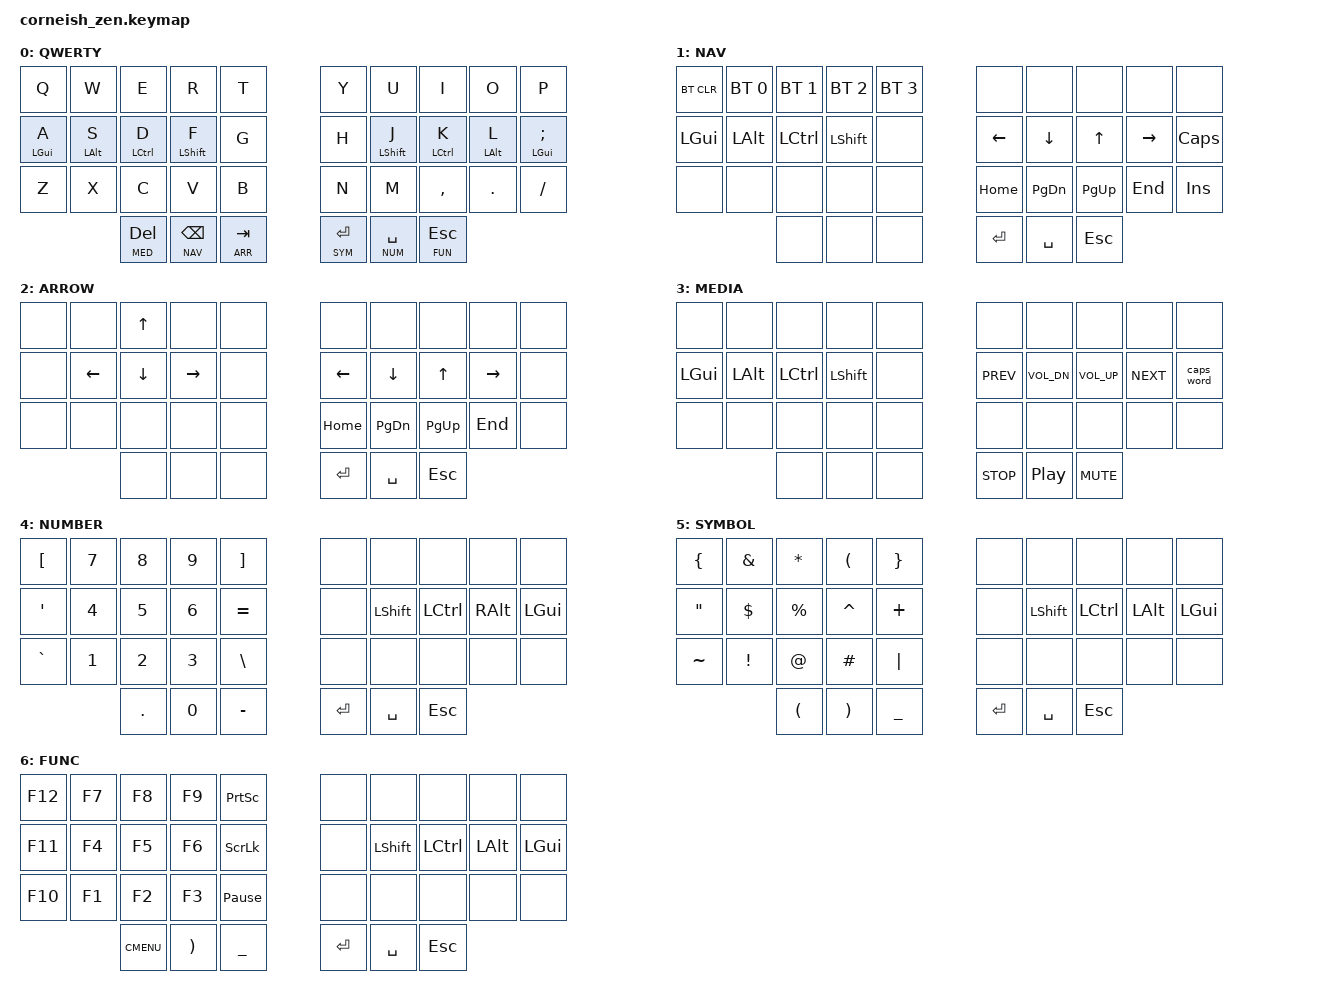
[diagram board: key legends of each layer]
/*
*
* Copyright (c) 2021 Darryl deHaan
* SPDX-License-Identifier: MIT
*
*/

#include <behaviors.dtsi>
#include <dt-bindings/zmk/keys.h>
#include <dt-bindings/zmk/bt.h>

#define DEF 0
#define NAV 1
#define ARR 2
#define MED 3
#define NUM 4
#define SYM 5
#define FUN 6

#define TAPPING_TERM 150
#define QUICK_TAP 200

/ {
	chosen {
		zmk,matrix_transform = &five_column_transform;
	};
};

&lt {
	tapping-term-ms = <TAPPING_TERM>;
	quick-tap-ms = <QUICK_TAP>;
};

/ {
	behaviors {
		hm: homerow_mods {
		    compatible = "zmk,behavior-hold-tap";
		    label = "HOMEROW_MODS";
		    #binding-cells = <2>;
		    tapping-term-ms = <TAPPING_TERM>;
		    quick-tap-ms = <QUICK_TAP>;
		    flavor = "tap-preferred";
		    bindings = <&kp>, <&kp>;
        	};
	};

        keymap {
                compatible = "zmk,keymap";

                default_layer {
                        label = "QWERTY";
                        bindings = <
   &kp Q           &kp W           &kp E            &kp R            &kp T          &kp Y         &kp U            &kp I            &kp O           &kp P    
   &hm LGUI A      &hm LALT S      &hm LCTRL D      &hm LSHFT F      &kp G          &kp H         &hm LSHFT J      &hm LCTRL K      &hm LALT L      &hm LGUI SCLN 
   &kp Z           &kp X           &kp C            &kp V            &kp B          &kp N         &kp M            &kp CMMA         &kp DOT         &kp FSLH 
                                   &lt MED DEL      &lt NAV BSPC     &lt ARR TAB    &lt SYM RET   &lt NUM SPC      &lt FUN ESC
                        >;
                };
                navigation_layer {
                        label = "NAV";
                        bindings = <
   &bt BT_CLR      &bt BT_SEL 0    &bt BT_SEL 1     &bt BT_SEL 2     &bt BT_SEL 3   &none         &none            &none            &none           &none
   &kp LGUI        &kp LALT        &kp LCTRL        &kp LSHFT        &none          &kp LEFT      &kp DOWN         &kp UP           &kp RIGHT       &kp CAPS
   &none           &none           &none            &none            &none          &kp HOME      &kp PG_DN        &kp PG_UP        &kp END         &kp INS
                                   &none            &none            &none          &kp RET       &kp SPC          &kp ESC
                        >;
                };

                arrow_layer {
                        label = "ARROW";
                        bindings = <
   &none           &none           &kp UP           &none            &none          &none         &none            &none            &none           &none
   &none           &kp LEFT        &kp DOWN         &kp RIGHT        &none          &kp LEFT      &kp DOWN         &kp UP           &kp RIGHT       &none
   &none           &none           &none            &none            &none          &kp HOME      &kp PG_DN        &kp PG_UP        &kp END         &none
                                   &none            &none            &none          &kp RET       &kp SPC          &kp ESC
                        >;
                };
                
                media_layer {
                        label = "MEDIA";
                        bindings = <
   &none           &none           &none            &none            &none          &none         &none            &none            &none           &none
   &kp LGUI        &kp LALT        &kp LCTRL        &kp LSHFT        &none          &kp C_PREV    &kp C_VOL_DN     &kp C_VOL_UP     &kp C_NEXT      &caps_word
   &none           &none           &none            &none            &none          &none         &none            &none            &none           &none
                                   &none            &none            &none          &kp C_STOP    &kp C_PP         &kp C_MUTE
                        >;
                };
                
                number_layer {
                        label = "NUMBER";
                        bindings = <
   &kp LBKT        &kp N7          &kp N8           &kp N9           &kp RBKT       &none         &none            &none            &none           &none
   &kp SQT         &kp N4          &kp N5           &kp N6           &kp EQUAL      &none         &kp LSHFT        &kp LCTRL        &kp RALT        &kp LGUI 
   &kp GRAVE       &kp N1          &kp N2           &kp N3           &kp BSLH       &none         &none            &none            &none           &none
                                   &kp PERIOD       &kp N0           &kp MINUS      &kp RET       &kp SPC          &kp ESC
                        >;
                };
                
                symbol_layer {
                        label = "SYMBOL";
                        bindings = <
   &kp LBRC        &kp AMPS        &kp STAR         &kp LPAR         &kp RBRC       &none         &none            &none            &none           &none
   &kp DQT         &kp DLLR        &kp PRCNT        &kp CARET        &kp PLUS       &none         &kp LSHFT        &kp LCTRL        &kp LALT        &kp LGUI
   &kp TILDE       &kp EXCL        &kp AT           &kp HASH         &kp PIPE       &none         &none            &none            &none           &none
                                   &kp LPAR         &kp RPAR         &kp UNDER      &kp RET       &kp SPC          &kp ESC
                        >;
                };

                function_layer {
                        label = "FUNC";
                        bindings = <
   &kp F12         &kp F7          &kp F8           &kp F9           &kp PSCRN      &none         &none            &none            &none           &none
   &kp F11         &kp F4          &kp F5           &kp F6           &kp SLCK       &none         &kp LSHFT        &kp LCTRL        &kp LALT        &kp LGUI
   &kp F10         &kp F1          &kp F2           &kp F3          &kp PAUSE_BREAK &none         &none            &none            &none           &none
                                   &kp K_CMENU      &kp RPAR         &kp UNDER      &kp RET       &kp SPC          &kp ESC
                        >;
                };
        };
};
